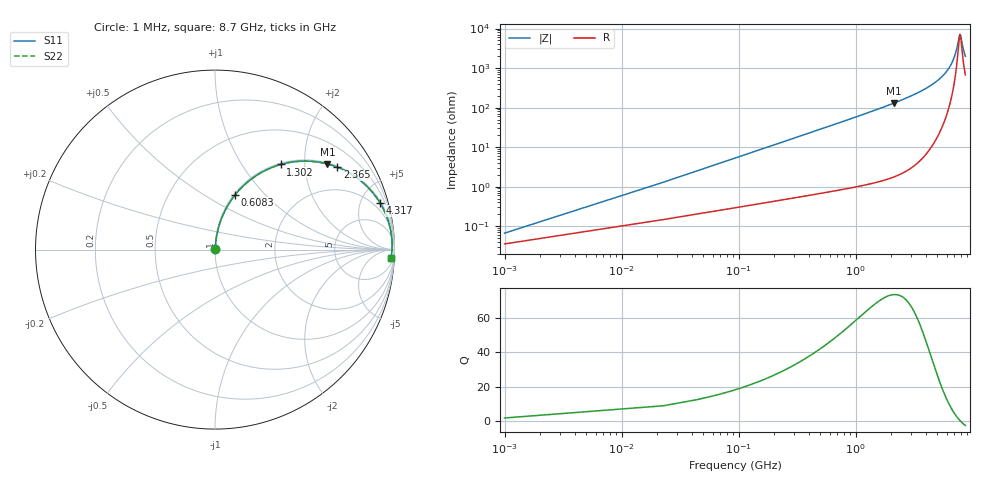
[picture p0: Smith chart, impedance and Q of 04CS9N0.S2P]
! Coilcraft 0402CS-9N0 Chip Inductor
! 29 May 2002
# MHZ S MA R 50
!Freq  MagS11  AngS11  MagS21  AngS21  MagS12  AngS12  MagS22  AngS22
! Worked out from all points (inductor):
!   403 points, 1 MHz to 8.7 GHz, reference 50 ohm
!   read as one part in series: L = 9 nH near 44.38 MHz
!   highest Q = 73.9 at 2.127 GHz (marker M1), where L = 9.72 nH
!   self-resonance near 7.834 GHz
!   S11 on the Smith chart (normalised r, x): 1 MHz: 1.00, +0.00; 608.3 MHz: 1.01, +0.69; 1.302 GHz: 1.02, +1.51; 2.365 GHz: 1.04, +2.94; 4.317 GHz: 1.18, +7.02; 8.7 GHz: 14, -38
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1  0.000668 57.8  0.9996 -0.0  0.9996 -0.0  0.000668 57.8
66.07  0.03733 84.1  0.9968 -2.1  0.9968 -2.1  0.03733 84.1
87.76  0.04951 83.9  0.996 -2.8  0.996 -2.8  0.04951 83.9
131.14  0.0738 83.1  0.9938 -4.2  0.9938 -4.2  0.0738 83.1
196.21  0.11 81.5  0.9898 -6.3  0.9898 -6.3  0.11 81.5
304.66  0.1692 78.5  0.9804 -9.7  0.9804 -9.7  0.1692 78.5
608.32  0.325 69.8  0.9387 -19.0  0.9387 -19.0  0.325 69.8
911.98  0.46 61.6  0.8798 -27.4  0.8798 -27.4  0.46 61.6
1302.4  0.5995 52.3  0.7913 -36.8  0.7913 -36.8  0.5995 52.3
1454.23  0.6438 49.1  0.7558 -40.1  0.7558 -40.1  0.6438 49.1
2126.62  0.7872 37.3  0.6062 -51.9  0.6062 -51.9  0.7872 37.3
2365.21  0.822 33.9  0.5584 -55.3  0.5584 -55.3  0.822 33.9
2907.46  0.8804 27.5  0.4615 -61.7  0.4615 -61.7  0.8804 27.5
4317.31  0.9554 15.8  0.2723 -72.8  0.2723 -72.8  0.9554 15.8
4360.69  0.9567 15.5  0.2676 -73.0  0.2676 -73.0  0.9567 15.5
5813.92  0.982 7.7  0.1343 -78.5  0.1343 -78.5  0.982 7.7
6681.52  0.9866 4.1  0.07185 -77.2  0.07185 -77.2  0.9866 4.1
7267.15  0.9871 1.9  0.03563 -67.8  0.03563 -67.8  0.9871 1.9
7700.95  0.9864 0.4  0.01553 -29.0  0.01553 -29.0  0.9864 0.4
7831.09  0.9861 0.0  0.01391 -0.8  0.01391 -0.8  0.9861 0.0
8373.34  0.984 -1.7  0.03331 60.5  0.03331 60.5  0.984 -1.7
8700  0.9823 -2.7  0.04925 67.7  0.04925 67.7  0.9823 -2.7
